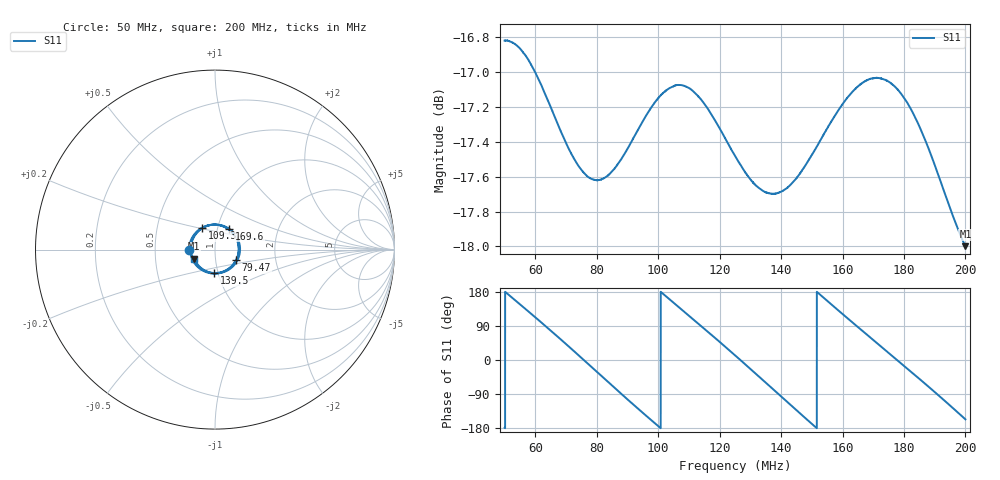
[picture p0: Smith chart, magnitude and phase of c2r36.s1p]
! COPPER MOUNTAIN TECHNOLOGIES, PLANAR TR1300/1, 00071119, 20.2.2/1.0
! Date: 1/7/2024 7:18:34 PM
! Data: Format [Calibration Info]
! Freq  S11: Re/Im F1
# HZ S RI R 50
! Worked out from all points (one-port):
!   12288 points, 50 MHz to 200 MHz, reference 50 ohm
!   lowest |S11| = -18.0 dB at 200 MHz (marker M1), VSWR 1.29, Z = 39.5 - j4.02 ohm
!   |S11| at or under -10 dB: start of sweep to end of sweep
!   S11 on the Smith chart (normalised r, x): 50 MHz: 0.75, -0.00; 79.47 MHz: 1.25, -0.15; 109.3 MHz: 0.84, +0.20; 139.5 MHz: 0.96, -0.25; 169.6 MHz: 1.14, +0.27; 200 MHz: 0.79, -0.08
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5e7  -0.1442 -0.00277
5.474892e7  -0.1226 0.0747
6.021812e7  -0.0507 0.1316
6.441768e7  0.0198 0.137
6.875153e7  0.0853 0.1054
7.422072e7  0.1301 0.0262
7.947017e7  0.1171 -0.06
8.750305e7  0.00942 -0.1328
9.231301e7  -0.0687 -0.1167
9.777e7  -0.1287 -0.0497
1.019574e8  -0.1381 0.0191
1.062546e8  -0.1113 0.085
1.093188e8  -0.0734 0.1191
1.166314e8  0.0441 0.1304
1.250061e8  0.1305 0.0288
1.313909e8  0.1094 -0.0723
1.394604e8  -0.00509 -0.1304
1.437576e8  -0.0724 -0.1095
1.485188e8  -0.1232 -0.0503
1.52877e8  -0.1335 0.0207
1.572963e8  -0.1053 0.0878
1.625092e8  -0.0339 0.135
1.695532e8  0.0788 0.1165
1.75584e8  0.1355 0.0361
1.812607e8  0.1265 -0.0559
1.861317e8  0.073 -0.1142
1.904899e8  0.00482 -0.1324
2e8  -0.1155 -0.0501
